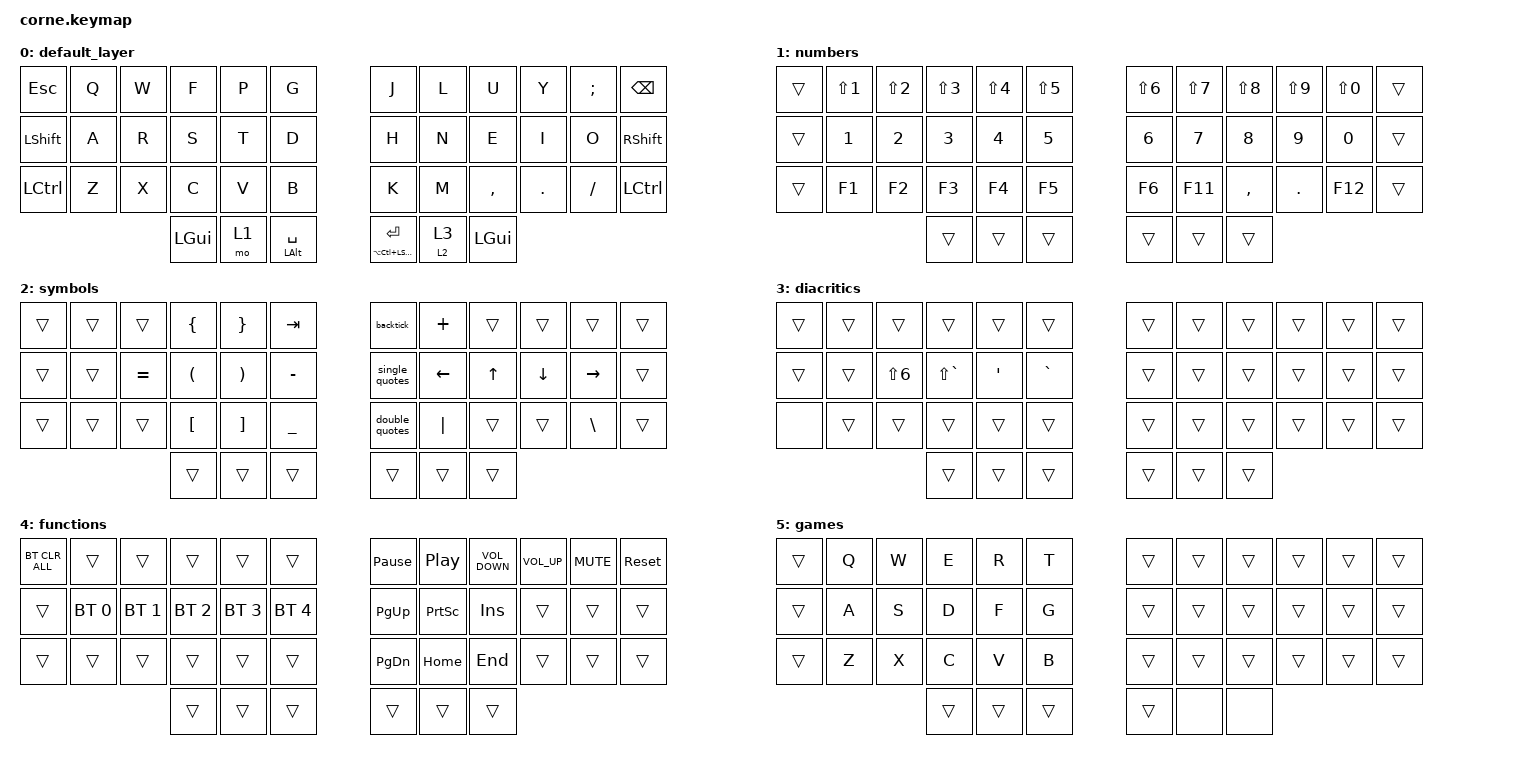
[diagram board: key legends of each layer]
/*
 * Copyright (c) 2020 The ZMK Contributors
 *
 * SPDX-License-Identifier: MIT
 */

#include <behaviors.dtsi>
#include <dt-bindings/zmk/bt.h>
#include <dt-bindings/zmk/keys.h>

&mt { flavor = "balanced"; };

/ {
    combos {
        compatible = "zmk,combos";

        backspace {
            bindings = <&kp BACKSPACE>;
            key-positions = <8 9>;
        };

        delete {
            bindings = <&kp DELETE>;
            key-positions = <32 33>;
        };

        erase_word {
            bindings = <&kp LC(BACKSPACE)>;
            key-positions = <7 8 9>;
        };

        delete_word {
            bindings = <&kp LC(DELETE)>;
            key-positions = <31 32 33>;
        };

        caps {
            bindings = <&caps_word>;
            key-positions = <17 18>;
        };

        toggle_game_layer {
            bindings = <&tog 5>;
            key-positions = <0 11>;
        };

        tab {
            bindings = <&kp TAB>;
            key-positions = <4 17>;
        };

        quit {
            bindings = <&kp LA(F4)>;
            key-positions = <0 38>;
        };
    };

    behaviors {
        hold_tap_layer: hold_tap_layer {
            compatible = "zmk,behavior-hold-tap";
            label = "HOLD_TAP_LAYER";
            bindings = <&mo>, <&sl>;

            #binding-cells = <2>;
            tapping-term-ms = <200>;
            flavor = "balanced";
        };
    };

    macros {
        single_quotes: single_quotes {
            compatible = "zmk,behavior-macro";
            #binding-cells = <0>;
            bindings = <&kp SQT &kp SPACE>;
            label = "SINGLE_QUOTES";
        };

        double_quotes: double_quotes {
            compatible = "zmk,behavior-macro";
            #binding-cells = <0>;
            bindings = <&kp DQT &kp SPACE>;
            label = "DOUBLE_QUOTES";
        };

        backtick: backtick {
            compatible = "zmk,behavior-macro";
            #binding-cells = <0>;
            bindings = <&kp GRAVE &kp SPACE>;
            label = "BACKTICK";
        };
    };

    keymap {
        compatible = "zmk,keymap";

        default_layer {
            // -----------------------------------------------------------------------------------------
            // |  TAB |  Q  |  W  |  E  |  R  |  T  |   |  Y  |  U   |  I  |  O  |  P  | BKSP |
            // | CTRL |  A  |  S  |  D  |  F  |  G  |   |  H  |  J   |  K  |  L  |  ;  |  '   |
            // | SHFT |  Z  |  X  |  C  |  V  |  B  |   |  N  |  M   |  ,  |  .  |  /  | ESC  |
            //                    | GUI | LWR | SPC |   | ENT | RSE  | ALT |

            bindings = <
&kp ESC    &kp Q  &kp W  &kp F     &kp P  &kp G             &kp J                         &kp L                &kp U         &kp Y    &kp SEMICOLON  &kp BACKSPACE
&kp LSHFT  &kp A  &kp R  &kp S     &kp T  &kp D             &kp H                         &kp N                &kp E         &kp I    &kp O          &kp RIGHT_SHIFT
&kp LCTRL  &kp Z  &kp X  &kp C     &kp V  &kp B             &kp K                         &kp M                &kp COMMA     &kp DOT  &kp FSLH       &kp LCTRL
                         &kp LGUI  &mo 1  &mt LALT SPACE    &mt LA(LC(LEFT_SHIFT)) ENTER  &hold_tap_layer 2 3  &kp LEFT_GUI
            >;
        };

        numbers {
            // -----------------------------------------------------------------------------------------
            // |  TAB |  1  |  2  |  3  |  4  |  5  |   |  6  |  7  |  8  |  9  |  0  | BKSP |
            // | BTCLR| BT1 | BT2 | BT3 | BT4 | BT5 |   | LFT | DWN |  UP | RGT |     |      |
            // | SHFT |     |     |     |     |     |   |     |     |     |     |     |      |
            //                    | GUI |     | SPC |   | ENT |     | ALT |

            bindings = <
&trans  &kp LS(N1)    &kp LS(N2)    &kp LS(N3)    &kp LS(N4)    &kp LS(N5)    &kp LS(N6)    &kp LS(N7)  &kp LS(N8)  &kp LS(N9)  &kp LS(N0)  &trans
&trans  &kp NUMBER_1  &kp NUMBER_2  &kp NUMBER_3  &kp NUMBER_4  &kp N5        &kp NUMBER_6  &kp N7      &kp N8      &kp N9      &kp N0      &trans
&trans  &kp F1        &kp F2        &kp F3        &kp F4        &kp F5        &kp F6        &kp F11     &kp COMMA   &kp PERIOD  &kp F12     &trans
                                    &trans        &trans        &trans        &trans        &trans      &trans
            >;
        };

        symbols {
            // -----------------------------------------------------------------------------------------
            // |  TAB |  !  |  @  |  #  |  $  |  %  |   |  ^  |  &  |  *  |  (  |  )  | BKSP |
            // | CTRL |     |     |     |     |     |   |  -  |  =  |  [  |  ]  |  \  |  `   |
            // | SHFT |     |     |     |     |     |   |  _  |  +  |  {  |  }  | "|" |  ~   |
            //                    | GUI |     | SPC |   | ENT |     | ALT |

            bindings = <
&trans  &trans  &trans     &kp LEFT_BRACE        &kp RIGHT_BRACE        &kp TAB      &backtick       &kp PLUS        &trans        &trans    &trans         &trans
&trans  &trans  &kp EQUAL  &kp LEFT_PARENTHESIS  &kp RIGHT_PARENTHESIS  &kp MINUS    &single_quotes  &kp LEFT_ARROW  &kp UP_ARROW  &kp DOWN  &kp RIGHT      &trans
&trans  &trans  &trans     &kp LEFT_BRACKET      &kp RIGHT_BRACKET      &kp UNDER    &double_quotes  &kp PIPE        &trans        &trans    &kp BACKSLASH  &trans
                           &trans                &trans                 &trans       &trans          &trans          &trans
            >;
        };

        diacritics {
            bindings = <
&trans  &trans  &trans            &trans         &trans          &trans       &trans  &trans  &trans  &trans  &trans  &trans
&trans  &trans  &kp LS(NUMBER_6)  &kp LS(GRAVE)  &kp APOSTROPHE  &kp GRAVE    &trans  &trans  &trans  &trans  &trans  &trans
&none   &trans  &trans            &trans         &trans          &trans       &trans  &trans  &trans  &trans  &trans  &trans
                                  &trans         &trans          &trans       &trans  &trans  &trans
            >;
        };

        functions {
            bindings = <
&bt BT_CLR_ALL  &trans        &trans        &trans        &trans        &trans          &kp PAUSE_BREAK  &kp C_PLAY_PAUSE  &kp C_VOLUME_DOWN  &kp C_VOL_UP  &kp C_MUTE  &sys_reset
&trans          &bt BT_SEL 0  &bt BT_SEL 1  &bt BT_SEL 2  &bt BT_SEL 3  &bt BT_SEL 4    &kp PAGE_UP      &kp PRINTSCREEN   &kp INSERT         &trans        &trans      &trans
&trans          &trans        &trans        &trans        &trans        &trans          &kp PAGE_DOWN    &kp HOME          &kp END            &trans        &trans      &trans
                                            &trans        &trans        &trans          &trans           &trans            &trans
            >;
        };

        games {
            bindings = <
&trans  &kp Q  &kp W  &kp E   &kp R   &kp T     &trans  &trans  &trans  &trans  &trans  &trans
&trans  &kp A  &kp S  &kp D   &kp F   &kp G     &trans  &trans  &trans  &trans  &trans  &trans
&trans  &kp Z  &kp X  &kp C   &kp V   &kp B     &trans  &trans  &trans  &trans  &trans  &trans
                      &trans  &trans  &trans    &trans  &none   &none
            >;
        };
    };

    conditional_layers {
        compatible = "zmk,conditional-layers";

        functions {
            if-layers = <1 2>;
            then-layer = <4>;
        };
    };
};
